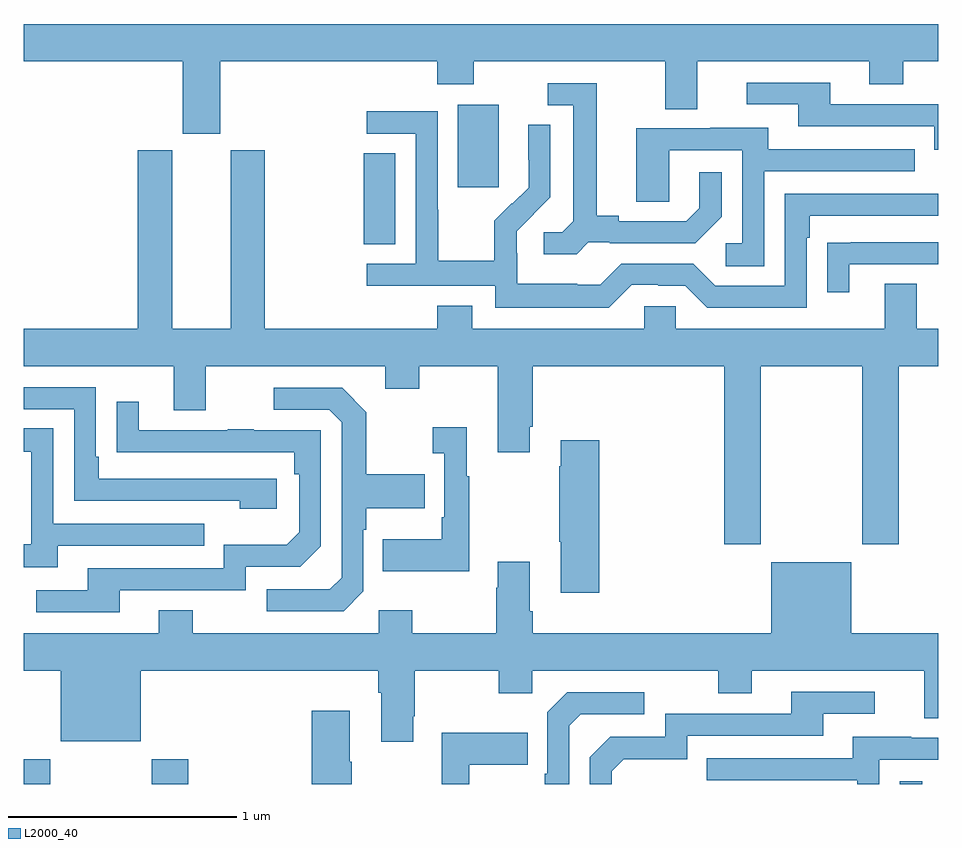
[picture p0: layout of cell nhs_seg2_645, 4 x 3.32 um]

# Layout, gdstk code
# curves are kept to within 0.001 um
import gdstk
lib = gdstk.Library(unit=1e-6, precision=1e-09)
def R(c, l, rs):  # rectangles x0, y0, x1, y1
    for r in rs: c.add(gdstk.rectangle(r[:2], r[2:], *l))
def P(c, l, *ps):  # polygons
    for p in ps: c.add(gdstk.Polygon(p, *l))
L2000_40 = (2000, 40)

nhs_seg2_645 = lib.new_cell('nhs_seg2_645')
R(nhs_seg2_645, L2000_40, [(143,653.8,143.115,653.908), (143.56,653.8,143.72,653.908), (146.832,653.8,146.929,653.812), (144.487,656.161,144.625,656.558), (144.899,656.409,145.078,656.77)])
P(nhs_seg2_645, L2000_40, [(143,656.96),(143.696,656.96),(143.696,656.643),(143.86,656.643),(143.86,656.96),(144.809,656.96),(144.809,656.861),(144.969,656.861),(144.969,656.96),(145.805,656.96),(145.805,656.752),(145.945,656.752),(145.945,656.96),(146.699,656.96),(146.699,656.861),(146.847,656.861),(146.847,656.96),(147,656.96),(147,657.124),(143,657.124)],
  [(147,656.772),(146.527,656.772),(146.527,656.868),(146.163,656.868),(146.163,656.772),(146.387,656.772),(146.387,656.676),(146.982,656.676),(146.982,656.573),(147,656.573)],
  [(145.47,656.169),(145.564,656.169),(145.564,656.166),(145.936,656.166),(146.052,656.282),(146.052,656.476),(145.955,656.476),(145.955,656.319),(145.898,656.262),(145.603,656.262),(145.603,656.285),(145.507,656.285),(145.507,656.865),(145.293,656.865),(145.293,656.769),(145.403,656.769),(145.403,656.261),(145.356,656.214),(145.275,656.214),(145.275,656.117),(145.418,656.117)],
  [(145.659,655.983),(145.775,655.983),(145.775,655.98),(145.893,655.98),(145.989,655.884),(146.424,655.884),(146.424,656.189),(146.437,656.189),(146.437,656.286),(147,656.286),(147,656.382),(146.328,656.382),(146.328,655.98),(146.025,655.98),(145.929,656.076),(145.614,656.076),(145.521,655.983),(145.421,655.983),(145.421,655.987),(145.158,655.987),(145.158,656.121),(145.156,656.121),(145.156,656.218),(145.302,656.366),(145.302,656.684),(145.206,656.684),(145.206,656.53),(145.208,656.53),(145.208,656.408),(145.137,656.337),(145.134,656.34),(145.057,656.263),(145.057,656.089),(144.813,656.089),(144.813,656.312),(144.81,656.312),(144.81,656.742),(144.501,656.742),(144.501,656.643),(144.714,656.643),(144.714,656.076),(144.501,656.076),(144.501,655.98),(145.062,655.98),(145.062,655.883),(145.559,655.883)],
  [(146.238,656.481),(146.897,656.481),(146.897,656.577),(146.257,656.577),(146.257,656.671),(146.003,656.671),(146.003,656.667),(145.679,656.667),(145.679,656.347),(145.824,656.347),(145.824,656.571),(146.142,656.571),(146.142,656.166),(146.07,656.166),(146.07,656.065),(146.238,656.065)],
  [(146.223,655.628),(146.668,655.628),(146.668,654.849),(146.828,654.849),(146.828,655.628),(147,655.628),(147,655.792),(146.905,655.792),(146.905,655.987),(146.765,655.987),(146.765,655.792),(145.851,655.792),(145.851,655.89),(145.713,655.89),(145.713,655.792),(144.961,655.792),(144.961,655.891),(144.809,655.891),(144.809,655.792),(144.054,655.792),(144.054,656.571),(143.906,656.571),(143.906,655.792),(143.65,655.792),(143.65,656.571),(143.498,656.571),(143.498,655.792),(143,655.792),(143,655.628),(143.657,655.628),(143.657,655.434),(143.797,655.434),(143.797,655.628),(144.581,655.628),(144.581,655.529),(144.729,655.529),(144.729,655.628),(145.073,655.628),(145.073,655.251),(145.213,655.251),(145.213,655.363),(145.226,655.363),(145.226,655.628),(146.063,655.628),(146.063,654.849),(146.223,654.849)],
  [(146.611,656.073),(147,656.073),(147,656.169),(146.617,656.169),(146.617,656.168),(146.515,656.168),(146.515,655.95),(146.611,655.95)],
  [(144.106,655.134),(143.329,655.134),(143.329,655.231),(143.316,655.231),(143.316,655.536),(143,655.536),(143,655.44),(143.22,655.44),(143.22,655.038),(143.945,655.038),(143.945,655.004),(144.106,655.004)],
  [(144.486,654.642),(144.486,654.911),(144.499,654.911),(144.499,655.007),(144.755,655.007),(144.755,655.155),(144.499,655.155),(144.499,655.427),(144.393,655.533),(144.093,655.533),(144.093,655.437),(144.336,655.437),(144.39,655.383),(144.39,654.702),(144.339,654.651),(144.063,654.651),(144.063,654.555),(144.399,654.555)],
  [(143.419,654.648),(143.97,654.648),(143.97,654.75),(144.21,654.75),(144.3,654.84),(144.3,655.347),(144.005,655.347),(144.005,655.352),(143.893,655.352),(143.893,655.347),(143.503,655.347),(143.503,655.471),(143.407,655.471),(143.407,655.252),(144.184,655.251),(144.184,655.154),(144.204,655.154),(144.204,654.9),(144.151,654.847),(143.874,654.847),(143.874,654.744),(143.279,654.744),(143.279,654.648),(143.055,654.648),(143.055,654.552),(143.419,654.552)],
  [(144.949,655.147),(144.937,655.147),(144.937,655.36),(144.789,655.36),(144.789,655.247),(144.84,655.247),(144.84,654.967),(144.828,654.967),(144.828,654.871),(144.571,654.871),(144.571,654.731),(144.949,654.731)],
  [(143.149,654.843),(143.789,654.843),(143.789,654.939),(143.13,654.939),(143.13,655.355),(143,655.355),(143,655.254),(143.034,655.254),(143.034,654.849),(143,654.849),(143,654.749),(143.149,654.749)],
  [(145.517,655.303),(145.349,655.303),(145.349,655.19),(145.342,655.19),(145.342,654.859),(145.349,654.859),(145.349,654.636),(145.517,654.636)],
  [(144.703,654.097),(144.711,654.097),(144.711,654.296),(145.078,654.296),(145.078,654.197),(145.224,654.197),(145.224,654.296),(146.038,654.296),(146.038,654.197),(146.185,654.197),(146.185,654.296),(146.939,654.296),(146.939,654.088),(147,654.088),(147,654.46),(146.62,654.46),(146.62,654.769),(146.27,654.769),(146.27,654.46),(145.226,654.46),(145.226,654.556),(145.213,654.556),(145.213,654.772),(145.073,654.772),(145.073,654.659),(145.066,654.659),(145.066,654.46),(144.699,654.46),(144.699,654.559),(144.552,654.559),(144.552,654.46),(143.739,654.46),(143.739,654.559),(143.591,654.559),(143.591,654.46),(143,654.46),(143,654.296),(143.162,654.296),(143.162,653.987),(143.512,653.987),(143.512,654.296),(144.551,654.296),(144.551,654.2),(144.563,654.2),(144.563,653.985),(144.703,653.985)],
  [(145.572,653.856),(145.625,653.909),(145.902,653.909),(145.902,654.012),(146.497,654.012),(146.497,654.108),(146.722,654.108),(146.722,654.204),(146.357,654.204),(146.357,654.108),(145.806,654.108),(145.806,654.006),(145.566,654.006),(145.476,653.916),(145.476,653.8),(145.572,653.8)],
  [(145.386,654.054),(145.437,654.105),(145.714,654.105),(145.714,654.201),(145.377,654.201),(145.29,654.114),(145.29,653.845),(145.278,653.845),(145.278,653.8),(145.386,653.8)],
  [(144.435,653.897),(144.427,653.897),(144.427,654.121),(144.26,654.121),(144.26,653.8),(144.435,653.8)],
  [(144.949,653.885),(145.205,653.885),(145.205,654.025),(144.828,654.025),(144.828,653.8),(144.949,653.8)],
  [(146.742,653.907),(147,653.907),(147,654.003),(146.881,654.003),(146.881,654.007),(146.627,654.007),(146.627,653.913),(145.987,653.913),(145.987,653.817),(146.646,653.817),(146.646,653.8),(146.742,653.8)])

lib.write_gds('nhs_seg2_645.gds')
